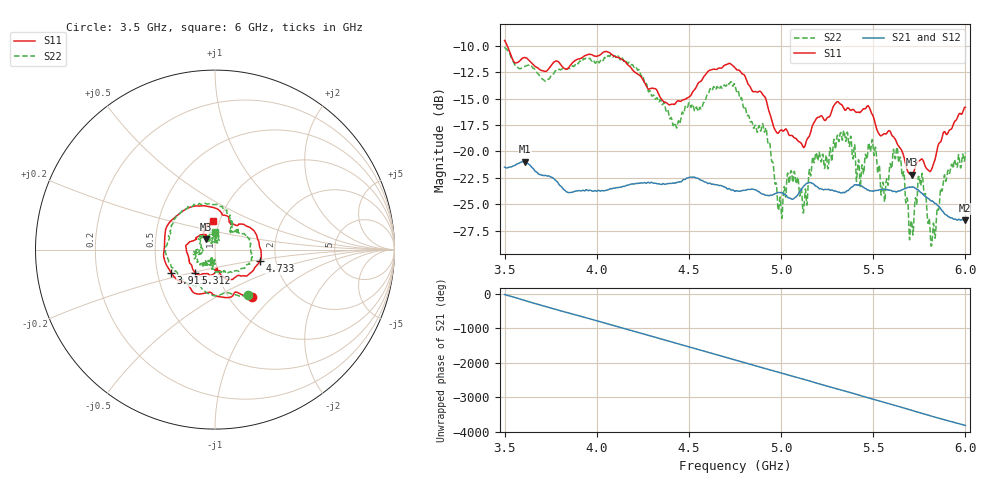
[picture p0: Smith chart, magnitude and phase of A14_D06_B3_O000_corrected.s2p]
! Created with skrf 1.9.0 (http://scikit-rf.org).
# Hz S RI R 50.0
!freq ReS11 ImS11 ReS21 ImS21 ReS12 ImS12 ReS22 ImS22
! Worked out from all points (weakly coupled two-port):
!   1601 points, 3.5 GHz to 6 GHz, reference 50 ohm
!   highest |S21| = -20.97 dB at 3.609 GHz (marker M1); lowest = -26.5 dB at 5.995 GHz (marker M2)
!   lowest |S11| = -22.2 dB at 5.711 GHz (marker M3), VSWR 1.17, Z = 44.8 + j5.21 ohm
!   |S11| at or under -10 dB: 3.515 GHz to end of sweep
!   |S22| runs from -29.0 to -10.1 dB; largest |S21 - S12| = 0.001
!   S11 on the Smith chart (normalised r, x): 3.5 GHz: 1.28, -0.76; 3.913 GHz: 0.59, -0.16; 4.733 GHz: 1.64, -0.23; 5.312 GHz: 0.78, -0.21; 6 GHz: 0.93, +0.31
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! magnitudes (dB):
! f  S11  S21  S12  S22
! 3.5 GHz  -9.5  -21.5  -21.5  -10.1
! 3.609 GHz  -11.1  -21.0  -21.0  -11.9
! 3.913 GHz  -11.2  -23.7  -23.7  -11.5
! 3.917 GHz  -11.2  -23.7  -23.7  -11.5
! 4.334 GHz  -14.5  -23.1  -23.0  -15.2
! 4.427 GHz  -15.5  -23.0  -23.0  -17.4
! 4.733 GHz  -11.8  -23.7  -23.6  -13.5
! 4.75 GHz  -12.1  -23.8  -23.7  -13.7
! 4.911 GHz  -14.8  -24.1  -24.0  -18.2
! 4.995 GHz  -18.0  -23.9  -23.8  -24.3
! 5.062 GHz  -18.5  -24.5  -24.5  -22.9
! 5.13 GHz  -19.5  -23.2  -23.1  -23.8
! 5.167 GHz  -17.7  -23.0  -23.0  -21.1
! 5.312 GHz  -15.4  -23.9  -23.8  -19.1
! 5.584 GHz  -18.0  -23.7  -23.6  -22.4
! 5.638 GHz  -19.5  -23.8  -23.7  -21.0
! 5.711 GHz  -22.2  -23.4  -23.3  -27.0
! 5.756 GHz  -20.8  -23.9  -23.8  -23.3
! 5.825 GHz  -21.3  -24.7  -24.7  -27.1
! 5.877 GHz  -18.4  -25.6  -25.6  -23.5
! 5.995 GHz  -15.8  -26.5  -26.4  -20.8
! 6 GHz  -15.8  -26.5  -26.4  -20.1
